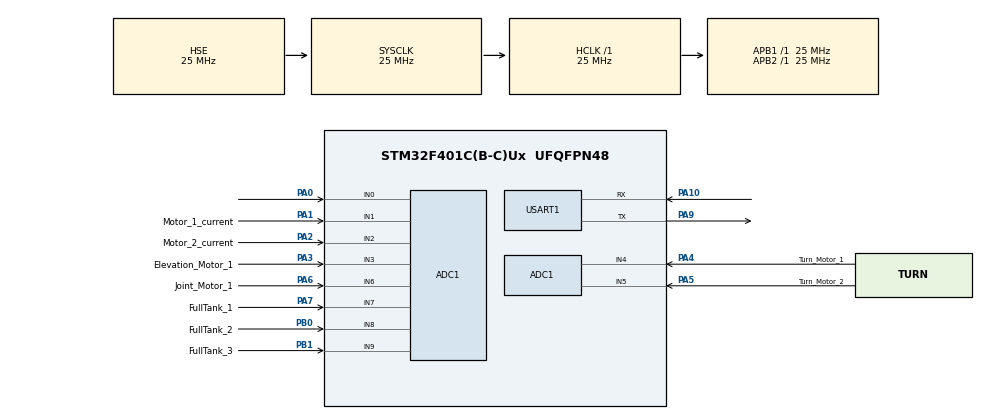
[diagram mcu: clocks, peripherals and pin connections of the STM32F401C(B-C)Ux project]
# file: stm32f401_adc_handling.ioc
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ADC1.Channel-0\#ChannelRegularConversion=ADC_CHANNEL_0
ADC1.Channel-1\#ChannelRegularConversion=ADC_CHANNEL_1
ADC1.Channel-2\#ChannelRegularConversion=ADC_CHANNEL_2
ADC1.Channel-3\#ChannelRegularConversion=ADC_CHANNEL_3
ADC1.Channel-4\#ChannelRegularConversion=ADC_CHANNEL_4
ADC1.Channel-5\#ChannelRegularConversion=ADC_CHANNEL_5
ADC1.Channel-6\#ChannelRegularConversion=ADC_CHANNEL_6
ADC1.Channel-7\#ChannelRegularConversion=ADC_CHANNEL_7
ADC1.Channel-8\#ChannelRegularConversion=ADC_CHANNEL_8
ADC1.Channel-9\#ChannelRegularConversion=ADC_CHANNEL_9
ADC1.NbrOfConversion=10
ADC1.NbrOfConversionFlag=1
ADC1.Rank-0\#ChannelRegularConversion=1
ADC1.Rank-1\#ChannelRegularConversion=2
ADC1.Rank-2\#ChannelRegularConversion=3
ADC1.Rank-3\#ChannelRegularConversion=4
ADC1.Rank-4\#ChannelRegularConversion=5
ADC1.Rank-5\#ChannelRegularConversion=6
ADC1.Rank-6\#ChannelRegularConversion=7
ADC1.Rank-7\#ChannelRegularConversion=8
ADC1.Rank-8\#ChannelRegularConversion=9
ADC1.Rank-9\#ChannelRegularConversion=10
ADC1.SamplingTime-0\#ChannelRegularConversion=ADC_SAMPLETIME_112CYCLES
ADC1.SamplingTime-1\#ChannelRegularConversion=ADC_SAMPLETIME_112CYCLES
ADC1.SamplingTime-2\#ChannelRegularConversion=ADC_SAMPLETIME_112CYCLES
ADC1.SamplingTime-3\#ChannelRegularConversion=ADC_SAMPLETIME_112CYCLES
ADC1.SamplingTime-4\#ChannelRegularConversion=ADC_SAMPLETIME_112CYCLES
ADC1.SamplingTime-5\#ChannelRegularConversion=ADC_SAMPLETIME_112CYCLES
ADC1.SamplingTime-6\#ChannelRegularConversion=ADC_SAMPLETIME_112CYCLES
ADC1.SamplingTime-7\#ChannelRegularConversion=ADC_SAMPLETIME_112CYCLES
ADC1.SamplingTime-8\#ChannelRegularConversion=ADC_SAMPLETIME_112CYCLES
ADC1.SamplingTime-9\#ChannelRegularConversion=ADC_SAMPLETIME_112CYCLES
ADC1.ScanConvMode=ENABLE
ADC1.master=1
Dma.ADC1.0.Direction=DMA_PERIPH_TO_MEMORY
Dma.ADC1.0.FIFOMode=DMA_FIFOMODE_DISABLE
Dma.ADC1.0.Instance=DMA2_Stream0
Dma.ADC1.0.MemDataAlignment=DMA_MDATAALIGN_HALFWORD
Dma.ADC1.0.MemInc=DMA_MINC_ENABLE
Dma.ADC1.0.Mode=DMA_NORMAL
Dma.ADC1.0.PeriphDataAlignment=DMA_PDATAALIGN_HALFWORD
Dma.ADC1.0.PeriphInc=DMA_PINC_DISABLE
Dma.ADC1.0.Priority=DMA_PRIORITY_LOW
Dma.Request0=ADC1
Mcu.Family=STM32F4
Mcu.Name=STM32F401C(B-C)Ux
Mcu.Package=UFQFPN48
NVIC.DMA2_Stream0_IRQn=true\:0\:0\:false\:false\:true\:false\:true\:true
NVIC.PriorityGroup=NVIC_PRIORITYGROUP_4
PA0-WKUP.Signal=ADCx_IN0
PA1.GPIO_Label=Motor_1_current
PA1.Signal=ADCx_IN1
PA10.Mode=Asynchronous
PA10.Signal=USART1_RX
PA13.Mode=Serial_Wire
PA13.Signal=SYS_JTMS-SWDIO
PA14.Mode=Serial_Wire
PA14.Signal=SYS_JTCK-SWCLK
PA2.GPIO_Label=Motor_2_current
PA2.Signal=ADCx_IN2
PA3.GPIO_Label=Elevation_Motor_1
PA3.Signal=ADCx_IN3
PA4.GPIO_Label=Turn_Motor_1
PA4.Signal=ADCx_IN4
PA5.GPIO_Label=Turn_Motor_2
PA5.Signal=ADCx_IN5
PA6.GPIO_Label=Joint_Motor_1
PA6.Signal=ADCx_IN6
PA7.GPIO_Label=FullTank_1
PA7.Signal=ADCx_IN7
PA9.Mode=Asynchronous
PA9.Signal=USART1_TX
PB0.GPIO_Label=FullTank_2
PB0.Signal=ADCx_IN8
PB1.GPIO_Label=FullTank_3
PB1.Signal=ADCx_IN9
PH0\ -\ OSC_IN.Mode=HSE-External-Oscillator
PH0\ -\ OSC_IN.Signal=RCC_OSC_IN
PH1\ -\ OSC_OUT.Mode=HSE-External-Oscillator
PH1\ -\ OSC_OUT.Signal=RCC_OSC_OUT
ProjectManager.HeapSize=0x200
ProjectManager.StackSize=0x400
ProjectManager.TargetToolchain=STM32CubeIDE
RCC.48MHZClocksFreq_Value=75000000
RCC.AHBFreq_Value=25000000
RCC.APB1Freq_Value=25000000
RCC.APB1TimFreq_Value=25000000
RCC.APB2Freq_Value=25000000
RCC.APB2TimFreq_Value=25000000
RCC.CortexFreq_Value=25000000
RCC.HCLKFreq_Value=25000000
RCC.HSE_VALUE=25000000
RCC.HSI_VALUE=16000000
RCC.LSE_VALUE=32768
RCC.PLLSourceVirtual=RCC_PLLSOURCE_HSE
RCC.SYSCLKFreq_VALUE=25000000
RCC.SYSCLKSource=RCC_SYSCLKSOURCE_HSE
RCC.VCOOutputFreq_Value=300000000
SH.ADCx_IN0.0=ADC1_IN0,IN0
SH.ADCx_IN1.0=ADC1_IN1,IN1
SH.ADCx_IN2.0=ADC1_IN2,IN2
SH.ADCx_IN3.0=ADC1_IN3,IN3
SH.ADCx_IN4.0=ADC1_IN4,IN4
SH.ADCx_IN5.0=ADC1_IN5,IN5
SH.ADCx_IN6.0=ADC1_IN6,IN6
SH.ADCx_IN7.0=ADC1_IN7,IN7
SH.ADCx_IN8.0=ADC1_IN8,IN8
SH.ADCx_IN9.0=ADC1_IN9,IN9
USART1.VirtualMode=VM_ASYNC
board=custom

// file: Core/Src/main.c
/* USER CODE BEGIN Header */
/**
  ******************************************************************************
  * @file           : main.c
  * @brief          : Main program body
  ******************************************************************************
  * @attention
  *
  * Copyright (c) 2023 STMicroelectronics.
  * All rights reserved.
  *
  * This software is licensed under terms that can be found in the LICENSE file
  * in the root directory of this software component.
  * If no LICENSE file comes with this software, it is provided AS-IS.
  *
  ******************************************************************************
  */
/* USER CODE END Header */
#include "main.h"
#include "adc.h"
#include "dma.h"
#include "usart.h"
#include "gpio.h"

/* USER CODE BEGIN Includes */
#include "ADC_Handling.h"
#include "UART_Handling.h"
/* USER CODE END Includes */

/* USER CODE BEGIN PTD */
#define ITERATION_DELAY    1 // this is the delay between ADC conversions, in ms

#define ITERATION_COUNT    50 // this is the number of ADC cycles before we send the message
/* USER CODE END PTD */

void SystemClock_Config(void);

int main(void)
{
  /* USER CODE BEGIN 1 */
  int IterationCount = 0;
  /* USER CODE END 1 */

  /* MCU Configuration--------------------------------------------------------*/

  /* Reset of all peripherals, Initializes the Flash interface and the Systick. */
  HAL_Init();

  /* Configure the system clock */
  SystemClock_Config();

  /* Initialize all configured peripherals */
  MX_GPIO_Init();
  MX_DMA_Init();
  MX_ADC1_Init();
  MX_USART1_UART_Init();
  /* USER CODE BEGIN 2 */
  ADC_Init();
  UART_InitFrame();

  HAL_Delay(10);

  AdcDmaStartConvert();
  /* USER CODE END 2 */

  /* Infinite loop */
  /* USER CODE BEGIN WHILE */
  while (1)
  {
	  // check if conversion and average handling is done?
	  if(GetConevrsionInProgress() == 0)
	  {
		  if(IterationCount < ITERATION_COUNT)
		  {
			  // add a delay before starting a new ADC scan...
			  HAL_Delay(ITERATION_DELAY);

			  IterationCount++;
		  }
		  else
		  {
  			  // prepare frame and send to UART
			  PrepareFrameAndSend();

			  // reset the iteration count
			  IterationCount = 0;
		  }

		  // start a new scan
		  AdcDmaStartConvert();
	  }

    /* USER CODE END WHILE */

  }
}

void SystemClock_Config(void)
{
  RCC_OscInitTypeDef RCC_OscInitStruct = {0};
  RCC_ClkInitTypeDef RCC_ClkInitStruct = {0};

  /** Configure the main internal regulator output voltage
  */
  __HAL_RCC_PWR_CLK_ENABLE();
  __HAL_PWR_VOLTAGESCALING_CONFIG(PWR_REGULATOR_VOLTAGE_SCALE2);

  /** Initializes the RCC Oscillators according to the specified parameters
  * in the RCC_OscInitTypeDef structure.
  */
  RCC_OscInitStruct.OscillatorType = RCC_OSCILLATORTYPE_HSE;
  RCC_OscInitStruct.HSEState = RCC_HSE_ON;
  RCC_OscInitStruct.PLL.PLLState = RCC_PLL_NONE;
  if (HAL_RCC_OscConfig(&RCC_OscInitStruct) != HAL_OK)
  {
    Error_Handler();
  }

  /** Initializes the CPU, AHB and APB buses clocks
  */
  RCC_ClkInitStruct.ClockType = RCC_CLOCKTYPE_HCLK|RCC_CLOCKTYPE_SYSCLK
                              |RCC_CLOCKTYPE_PCLK1|RCC_CLOCKTYPE_PCLK2;
  RCC_ClkInitStruct.SYSCLKSource = RCC_SYSCLKSOURCE_HSE;
  RCC_ClkInitStruct.AHBCLKDivider = RCC_SYSCLK_DIV1;
  RCC_ClkInitStruct.APB1CLKDivider = RCC_HCLK_DIV1;
  RCC_ClkInitStruct.APB2CLKDivider = RCC_HCLK_DIV1;

  if (HAL_RCC_ClockConfig(&RCC_ClkInitStruct, FLASH_LATENCY_0) != HAL_OK)
  {
    Error_Handler();
  }
}

void Error_Handler(void)
{
  __disable_irq();
  while (1)
  {
  }
}
